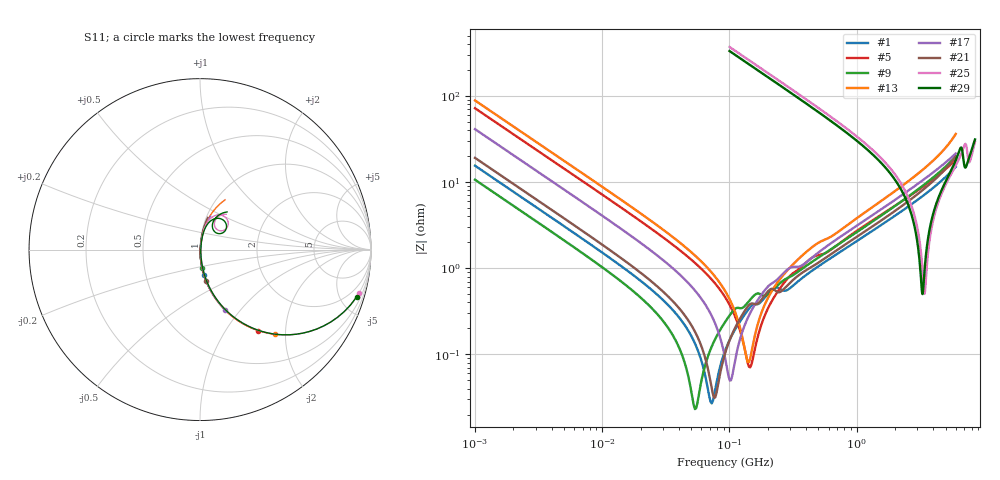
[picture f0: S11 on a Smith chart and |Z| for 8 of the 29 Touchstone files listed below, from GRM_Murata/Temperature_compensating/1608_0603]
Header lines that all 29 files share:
!These Parameters are Measured in Series Mode Connection
!Data Generated on Mar 30, 2021
!  o--ll--o
!Port1  Port2
!  o------o
!Operation Temp=25[degC], DC Bias Voltage=0[V]
# Hz S RI R 50
!Freq.(Hz) S11(Real) S11(Imag) S21(Real) S21(Imag) S12(Real) S12(Imag) S22(Real) S22(Imag)
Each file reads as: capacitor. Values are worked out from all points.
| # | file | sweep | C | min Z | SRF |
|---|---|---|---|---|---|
| 1 | GRM1851X1A103JA44.s2p | 1 MHz to 6 GHz | 10.3 nF | 27 mohm | 72.62 MHz |
| 2 | GRM1851X1A562JA44.s2p | 1 MHz to 6 GHz | 5.68 nF | 41.6 mohm | 96.72 MHz |
| 3 | GRM1851X1A682JA44.s2p | 1 MHz to 6 GHz | 6.69 nF | 40.1 mohm | 89.56 MHz |
| 4 | GRM1851X1A822JA44.s2p | 1 MHz to 6 GHz | 8.01 nF | 38 mohm | 84.14 MHz |
| 5 | GRM1851X1H222JA44.s2p | 1 MHz to 6 GHz | 2.22 nF | 70.7 mohm | 144.8 MHz |
| 6 | GRM1853U1H272JA44.s2p | 1 MHz to 6 GHz | 2.64 nF | 67 mohm | 135.1 MHz |
| 7 | GRM1857U1H332JA44.s2p | 1 MHz to 6 GHz | 3.3 nF | 50.1 mohm | 127.9 MHz |
| 8 | GRM1857U1H392JA44.s2p | 1 MHz to 6 GHz | 3.81 nF | 51.3 mohm | 120.6 MHz |
| 9 | GRM1881X1A153JA01.s2p | 1 MHz to 6 GHz | 15 nF | 23.1 mohm | 54.07 MHz |
| 10 | GRM1881X1A183JA01.s2p | 1 MHz to 6 GHz | 17.6 nF | 25.2 mohm | 52.94 MHz |
| 11 | GRM1881X1H103JA01.s2p | 1 MHz to 6 GHz | 9.98 nF | 27.1 mohm | 73.31 MHz |
| 12 | GRM1881X1H122JA01.s2p | 1 MHz to 6 GHz | 1.17 nF | 66.8 mohm | 193.4 MHz |
| 13 | GRM1881X1H182JA01.s2p | 1 MHz to 6 GHz | 1.8 nF | 81.3 mohm | 141.1 MHz |
| 14 | GRM1881X1H222JA01.s2p | 1 MHz to 6 GHz | 2.21 nF | 74.4 mohm | 129.2 MHz |
| 15 | GRM1881X1H272JA01.s2p | 1 MHz to 6 GHz | 2.64 nF | 58.8 mohm | 120.8 MHz |
| 16 | GRM1881X1H332JA01.s2p | 1 MHz to 6 GHz | 3.27 nF | 55.9 mohm | 110.2 MHz |
| 17 | GRM1881X1H392JA01.s2p | 1 MHz to 6 GHz | 3.88 nF | 49.6 mohm | 101.8 MHz |
| 18 | GRM1881X1H472JA01.s2p | 1 MHz to 6 GHz | 4.61 nF | 43.8 mohm | 94.73 MHz |
| 19 | GRM1881X1H562JA01.s2p | 1 MHz to 6 GHz | 5.52 nF | 42.5 mohm | 90.34 MHz |
| 20 | GRM1881X1H682JA01.s2p | 1 MHz to 6 GHz | 6.81 nF | 31.8 mohm | 83.88 MHz |
| 21 | GRM1881X1H822JA01.s2p | 1 MHz to 6 GHz | 8.35 nF | 31.2 mohm | 76.59 MHz |
| 22 | GRM1882C1H4R0CA01.s2p | 100 MHz to 8.5 GHz | 4 pF | 492 mohm | 3.526 GHz |
| 23 | GRM1882C1H4R1BA01.s2p | 100 MHz to 8.5 GHz | 4.1 pF | 512 mohm | 3.491 GHz |
| 24 | GRM1882C1H4R2BA01.s2p | 100 MHz to 8.5 GHz | 4.2 pF | 510 mohm | 3.451 GHz |
| 25 | GRM1882C1H4R3BA01.s2p | 100 MHz to 8.5 GHz | 4.3 pF | 505 mohm | 3.411 GHz |
| 26 | GRM1882C1H4R5BA01.s2p | 100 MHz to 8.5 GHz | 4.5 pF | 496 mohm | 3.348 GHz |
| 27 | GRM1882C1H4R6CA01.s2p | 100 MHz to 8.5 GHz | 4.6 pF | 491 mohm | 3.313 GHz |
| 28 | GRM1882C1H4R7BA01.s2p | 100 MHz to 8.5 GHz | 4.7 pF | 503 mohm | 3.32 GHz |
| 29 | GRM1882C1H4R8BA01.s2p | 100 MHz to 8.5 GHz | 4.8 pF | 500 mohm | 3.287 GHz |
